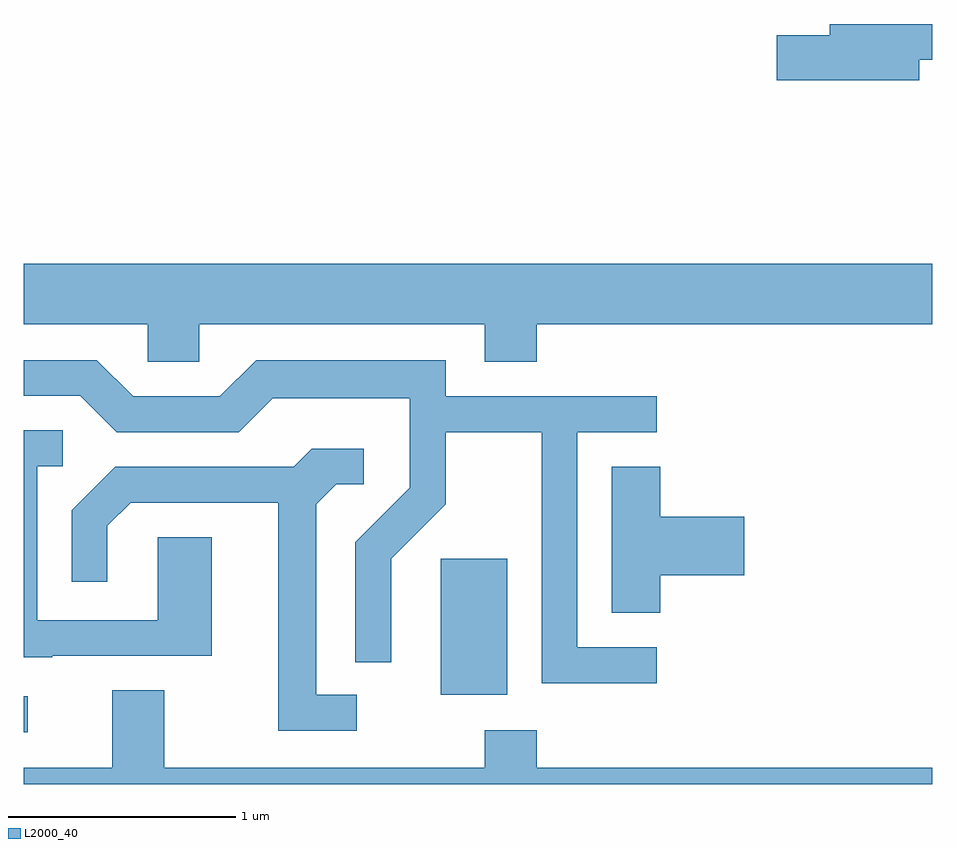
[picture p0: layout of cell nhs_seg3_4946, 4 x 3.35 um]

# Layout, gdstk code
import gdstk
lib = gdstk.Library(unit=1e-6, precision=1e-09)
def R(c, l, rs):  # rectangles x0, y0, x1, y1
    for r in rs: c.add(gdstk.rectangle(r[:2], r[2:], *l))
def P(c, l, *ps):  # polygons
    for p in ps: c.add(gdstk.Polygon(p, *l))
L2000_40 = (2000, 40)

nhs_seg3_4946 = lib.new_cell('nhs_seg3_4946')
R(nhs_seg3_4946, L2000_40, [(329.611,1224.121,329.628,1224.279), (331.446,1224.286,331.739,1224.884)])
P(nhs_seg3_4946, L2000_40, [(333.554,1227.081),(333.611,1227.081),(333.611,1227.239),(333.161,1227.239),(333.161,1227.189),(332.926,1227.189),(332.926,1226.991),(333.554,1226.991)],
  [(330.384,1225.916),(331.641,1225.916),(331.641,1225.751),(331.869,1225.751),(331.869,1225.916),(333.611,1225.916),(333.611,1226.184),(329.611,1226.184),(329.611,1225.916),(330.156,1225.916),(330.156,1225.751),(330.384,1225.751)],
  [(332.398,1224.494),(332.049,1224.494),(332.049,1225.441),(332.398,1225.441),(332.398,1225.599),(331.469,1225.599),(331.469,1225.759),(330.634,1225.759),(330.474,1225.599),(330.092,1225.599),(329.932,1225.759),(329.611,1225.759),(329.611,1225.601),(329.859,1225.601),(330.019,1225.441),(330.557,1225.441),(330.707,1225.591),(331.311,1225.591),(331.311,1225.197),(331.071,1224.957),(331.071,1224.428),(331.229,1224.428),(331.229,1224.884),(331.469,1225.124),(331.469,1225.441),(331.891,1225.441),(331.891,1224.336),(332.398,1224.336)],
  [(329.735,1224.456),(330.439,1224.456),(330.439,1224.979),(330.201,1224.979),(330.201,1224.614),(329.669,1224.614),(329.669,1225.291),(329.783,1225.291),(329.783,1225.449),(329.611,1225.449),(329.611,1224.451),(329.735,1224.451)],
  [(331.078,1224.284),(330.899,1224.284),(330.899,1225.124),(330.987,1225.211),(331.108,1225.211),(331.108,1225.369),(330.879,1225.369),(330.799,1225.289),(330.014,1225.289),(329.821,1225.097),(329.821,1224.783),(329.979,1224.783),(329.979,1225.029),(330.082,1225.131),(330.731,1225.131),(330.731,1224.126),(331.078,1224.126)],
  [(332.414,1224.811),(332.784,1224.811),(332.784,1225.069),(332.414,1225.069),(332.414,1225.289),(332.201,1225.289),(332.201,1224.646),(332.414,1224.646)],
  [(333.611,1223.964),(331.869,1223.964),(331.869,1224.129),(331.641,1224.129),(331.641,1223.964),(330.229,1223.964),(330.229,1224.304),(330.001,1224.304),(330.001,1223.964),(329.611,1223.964),(329.611,1223.892),(333.611,1223.892)])

lib.write_gds('nhs_seg3_4946.gds')
